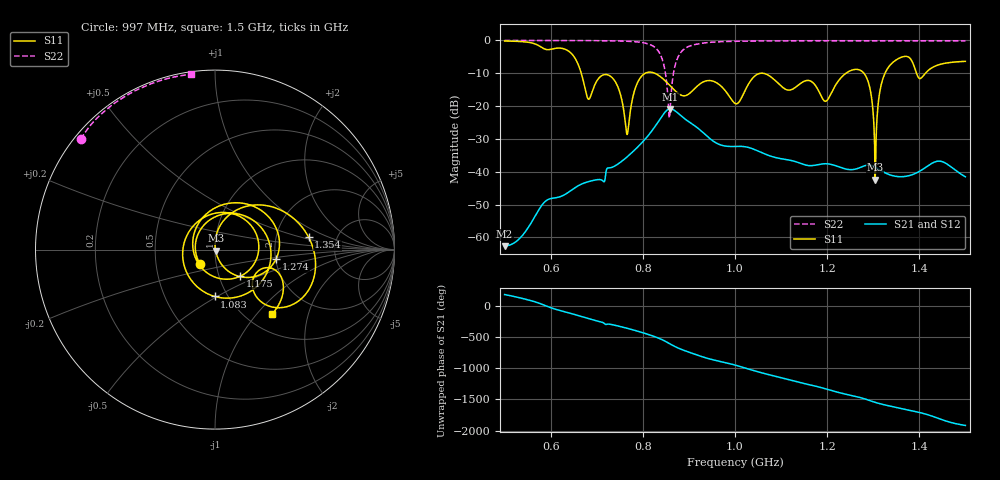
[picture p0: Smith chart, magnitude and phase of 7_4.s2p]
! TOUCHSTONE file generated by CST MICROWAVE STUDIO
! Date and time: Sat Nov 14 19:59:16 2020
! Project name: Scenario_1_Planar_Body_Tissue_Out_of_Line.cst
! Parameters = {dy1=242.2; L_HA=400; Ltissue=700; MT=2.54; Rad_Dielectric=30; Rad_Lower=7.3; Rad_Upper=30; Wtissue=700; a_HA=580; a_WG=246; b_HA=500; b_WG=121; c_HA=0; c_WG=187; d_feed=85; dx1=693; h_feed=15; h_lower=18; h_upper=40; hfat=3; hgap=25; hmuscle=50; hskin=1.5}
! Header version: 2018
! Port assignment regex: !\s*Touchstone port\s*([0-9]+)\s*=\s*(CST MWS port|CST DS port)\s*([0-9]+|Zmin|Zmax)\s*\(\"(.*)\"\)(\s*mode\s*([0-9]+))?.*
! Touchstone port assignment:
! Touchstone port 1 = CST MWS port 1 ("")
! Touchstone port 2 = CST MWS port 2 ("")
# GHz S DB R 50
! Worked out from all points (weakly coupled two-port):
!   1003 points, 500 MHz to 1.5 GHz, reference 50 ohm
!   highest |S21| = -20.84 dB at 860 MHz (marker M1); lowest = -62.7 dB at 500 MHz (marker M2)
!   lowest |S11| = -42.4 dB at 1.304 GHz (marker M3), VSWR 1.02, Z = 50.4 - j0.673 ohm
!   |S11| at or under -10 dB: 666.3 MHz to 805.1 MHz (138.7 MHz wide, 18.9 % of centre); 825.9 MHz to 1.055 GHz (229.5 MHz wide, 24.4 % of centre); 1.061 GHz to 1.241 GHz (180.1 MHz wide, 15.7 % of centre) (the widest 3 of 5)
!   |S22| runs from -23.6 to 0.0 dB; largest |S21 - S12| = 0.00022
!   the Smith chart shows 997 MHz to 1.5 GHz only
!   S11 on the Smith chart (normalised r, x): 997 MHz: 0.84, -0.13; 1.083 GHz: 0.87, -0.49; 1.175 GHz: 1.26, -0.39; 1.274 GHz: 2.02, -0.23; 1.354 GHz: 3.10, +0.59; 1.5 GHz: 1.29, -1.21
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0.5  -0.18 -121.7  -62.65 175.6  -62.65 175.6  -0.01 151.2
0.62  -2.34 174.4  -47.61 -79.2  -47.61 -79.2  -0.02 142.5
0.667  -10.32 111.9  -43.74 -177.5  -43.74 -177.5  -0.04 138.4
0.735  -11.58 114.8  -38.53 51.7  -38.54 51.7  -0.12 130.1
0.766  -28.66 -35.7  -35.44 -3.6  -35.44 -3.6  -0.24 124.1
0.792  -11.92 179.2  -32.01 -57.1  -32.01 -57.1  -0.52 116.1
0.834  -10.62 66.4  -24.63 -160.4  -24.63 -160.4  -3.32 83.5
0.86  -13.90 -5.1  -20.84 102.4  -20.84 102.4  -19.16 -107.1
0.887  -16.84 -101.2  -23.45 9.9  -23.45 9.9  -2.94 178.5
0.93  -12.71 84.7  -27.97 -100.9  -27.97 -100.9  -0.83 154.3
0.997  -18.82 -136.7  -32.30 135.0  -32.30 135.0  -0.27 140.6
1  -19.17 -152.5  -32.29 129.1  -32.29 129.1  -0.26 140.1
1.052  -10.10 -3.6  -33.81 16.5  -33.81 16.5  -0.16 134.2
1.083  -11.67 -90.6  -35.48 -41.9  -35.48 -41.9  -0.13 131.2
1.167  -12.61 -17.0  -38.12 165.4  -38.12 165.4  -0.09 124.2
1.175  -13.81 -47.0  -37.96 151.7  -37.97 151.7  -0.09 123.5
1.231  -11.22 70.8  -38.77 39.2  -38.77 39.2  -0.09 119.3
1.274  -9.25 -8.5  -38.56 -35.0  -38.56 -35.0  -0.08 116.0
1.304  -42.36 -61.2  -38.55 -106.5  -38.55 -106.5  -0.09 113.8
1.334  -7.97 36.4  -40.83 -163.2  -40.83 -163.2  -0.09 111.5
1.354  -5.58 7.6  -41.47 165.9  -41.47 165.9  -0.09 110.0
1.5  -6.38 -48.8  -41.54 -116.2  -41.54 -116.2  -0.13 97.9
